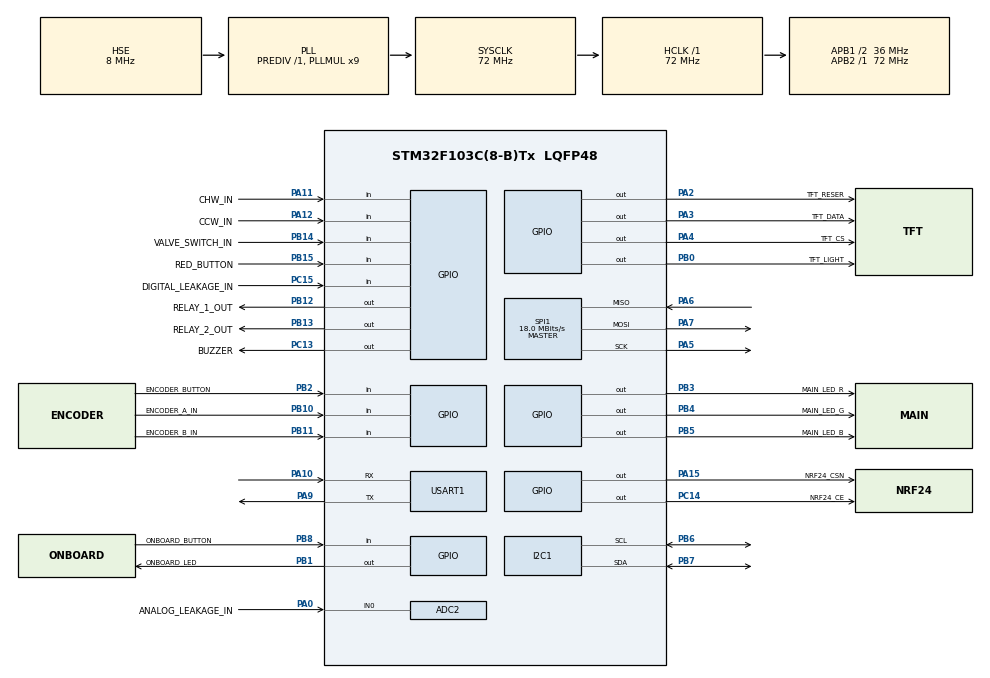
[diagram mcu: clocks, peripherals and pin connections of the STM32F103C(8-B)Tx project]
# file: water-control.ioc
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ADC2.Channel-0\#ChannelRegularConversion=ADC_CHANNEL_0
ADC2.Rank-0\#ChannelRegularConversion=1
ADC2.SamplingTime-0\#ChannelRegularConversion=ADC_SAMPLETIME_1CYCLE_5
Dma.Request0=SPI1_TX
Dma.SPI1_TX.0.Direction=DMA_MEMORY_TO_PERIPH
Dma.SPI1_TX.0.Instance=DMA1_Channel3
Dma.SPI1_TX.0.MemDataAlignment=DMA_MDATAALIGN_BYTE
Dma.SPI1_TX.0.MemInc=DMA_MINC_ENABLE
Dma.SPI1_TX.0.Mode=DMA_NORMAL
Dma.SPI1_TX.0.PeriphDataAlignment=DMA_PDATAALIGN_BYTE
Dma.SPI1_TX.0.PeriphInc=DMA_PINC_DISABLE
Dma.SPI1_TX.0.Priority=DMA_PRIORITY_LOW
FREERTOS.BinarySemaphores01=SPI1BinarySem
FREERTOS.Tasks01=LCDTask,0,128,StartLCDTask;UserManagement,0,128,StartUserManagementTask;I2CTimeTask,0,128,StartI2CTimeTask;NRFf24Task,0,256,StartNrf24Task
FREERTOS.configTOTAL_HEAP_SIZE=8192
Mcu.Family=STM32F1
Mcu.Name=STM32F103C(8-B)Tx
Mcu.Package=LQFP48
NVIC.DMA1_Channel3_IRQn=true\:5\:0\:false
NVIC.PriorityGroup=NVIC_PRIORITYGROUP_4
PA0-WKUP.GPIO_Label=ANALOG_LEAKAGE_IN
PA0-WKUP.Signal=ADCx_IN0
PA10.Mode=Asynchronous
PA10.Signal=USART1_RX
PA11.GPIO_Label=CHW_IN
PA11.GPIO_Mode=GPIO_MODE_INPUT
PA11.GPIO_PuPd=GPIO_PULLUP
PA11.Signal=GPIO_Input
PA12.GPIO_Label=CCW_IN
PA12.GPIO_Mode=GPIO_MODE_INPUT
PA12.GPIO_PuPd=GPIO_PULLUP
PA12.Signal=GPIO_Input
PA13.Mode=Serial_Wire
PA13.Signal=SYS_JTMS-SWDIO
PA14.Mode=Serial_Wire
PA14.Signal=SYS_JTCK-SWCLK
PA15.GPIO_Label=NRF24_CSN
PA15.Signal=GPIO_Output
PA2.GPIO_Label=TFT_RESER
PA2.GPIO_ModeDefaultOutputPP=GPIO_MODE_OUTPUT_PP
PA2.GPIO_Speed=GPIO_SPEED_HIGH
PA2.Signal=GPIO_Output
PA3.GPIO_Label=TFT_DATA
PA3.GPIO_ModeDefaultOutputPP=GPIO_MODE_OUTPUT_PP
PA3.GPIO_Speed=GPIO_SPEED_HIGH
PA3.Signal=GPIO_Output
PA4.GPIO_Label=TFT_CS
PA4.GPIO_ModeDefaultOutputPP=GPIO_MODE_OUTPUT_PP
PA4.GPIO_Speed=GPIO_SPEED_HIGH
PA4.Signal=GPIO_Output
PA5.GPIO_Mode=GPIO_MODE_AF_PP
PA5.GPIO_Speed=GPIO_SPEED_HIGH
PA5.Mode=Full_Duplex_Master
PA5.Signal=SPI1_SCK
PA6.Mode=Full_Duplex_Master
PA6.Signal=SPI1_MISO
PA7.GPIO_Mode=GPIO_MODE_AF_PP
PA7.GPIO_Speed=GPIO_SPEED_HIGH
PA7.Mode=Full_Duplex_Master
PA7.Signal=SPI1_MOSI
PA9.Mode=Asynchronous
PA9.Signal=USART1_TX
PB0.GPIO_Label=TFT_LIGHT
PB0.GPIO_ModeDefaultOutputPP=GPIO_MODE_OUTPUT_PP
PB0.GPIO_Speed=GPIO_SPEED_LOW
PB0.Signal=GPIO_Output
PB1.GPIO_Label=ONBOARD_LED
PB1.GPIO_ModeDefaultOutputPP=GPIO_MODE_OUTPUT_PP
PB1.GPIO_Speed=GPIO_SPEED_LOW
PB1.Signal=GPIO_Output
PB10.GPIO_Label=ENCODER_A_IN
PB10.GPIO_Mode=GPIO_MODE_INPUT
PB10.GPIO_PuPd=GPIO_PULLUP
PB10.Signal=GPIO_Input
PB11.GPIO_Label=ENCODER_B_IN
PB11.GPIO_Mode=GPIO_MODE_INPUT
PB11.GPIO_PuPd=GPIO_PULLUP
PB11.Signal=GPIO_Input
PB12.GPIO_Label=RELAY_1_OUT
PB12.GPIO_ModeDefaultOutputPP=GPIO_MODE_OUTPUT_PP
PB12.GPIO_Speed=GPIO_SPEED_LOW
PB12.Signal=GPIO_Output
PB13.GPIO_Label=RELAY_2_OUT
PB13.GPIO_ModeDefaultOutputPP=GPIO_MODE_OUTPUT_PP
PB13.GPIO_Speed=GPIO_SPEED_LOW
PB13.Signal=GPIO_Output
PB14.GPIO_Label=VALVE_SWITCH_IN
PB14.GPIO_Mode=GPIO_MODE_INPUT
PB14.GPIO_PuPd=GPIO_PULLUP
PB14.Signal=GPIO_Input
PB15.GPIO_Label=RED_BUTTON
PB15.GPIO_Mode=GPIO_MODE_INPUT
PB15.GPIO_PuPd=GPIO_PULLUP
PB15.Signal=GPIO_Input
PB2.GPIO_Label=ENCODER_BUTTON
PB2.GPIO_Mode=GPIO_MODE_INPUT
PB2.GPIO_PuPd=GPIO_PULLUP
PB2.Signal=GPIO_Input
PB3.GPIO_Label=MAIN_LED_R
PB3.GPIO_ModeDefaultOutputPP=GPIO_MODE_OUTPUT_PP
PB3.GPIO_Speed=GPIO_SPEED_LOW
PB3.Signal=GPIO_Output
PB4.GPIO_Label=MAIN_LED_G
PB4.GPIO_ModeDefaultOutputPP=GPIO_MODE_OUTPUT_PP
PB4.GPIO_Speed=GPIO_SPEED_LOW
PB4.Signal=GPIO_Output
PB5.GPIO_Label=MAIN_LED_B
PB5.GPIO_ModeDefaultOutputPP=GPIO_MODE_OUTPUT_PP
PB5.GPIO_Speed=GPIO_SPEED_LOW
PB5.Signal=GPIO_Output
PB6.Mode=I2C
PB6.Signal=I2C1_SCL
PB7.Mode=I2C
PB7.Signal=I2C1_SDA
PB8.GPIO_Label=ONBOARD_BUTTON
PB8.GPIO_Mode=GPIO_MODE_INPUT
PB8.GPIO_PuPd=GPIO_NOPULL
PB8.Signal=GPIO_Input
PC13-TAMPER-RTC.GPIO_Label=BUZZER
PC13-TAMPER-RTC.GPIO_ModeDefaultOutputPP=GPIO_MODE_OUTPUT_OD
PC13-TAMPER-RTC.GPIO_Speed=GPIO_SPEED_LOW
PC13-TAMPER-RTC.Signal=GPIO_Output
PC14-OSC32_IN.GPIO_Label=NRF24_CE
PC14-OSC32_IN.Signal=GPIO_Output
PC15-OSC32_OUT.GPIO_Label=DIGITAL_LEAKAGE_IN
PC15-OSC32_OUT.GPIO_Mode=GPIO_MODE_INPUT
PC15-OSC32_OUT.GPIO_PuPd=GPIO_NOPULL
PC15-OSC32_OUT.Signal=GPIO_Input
PD0-OSC_IN.Mode=HSE-External-Oscillator
PD0-OSC_IN.Signal=RCC_OSC_IN
PD1-OSC_OUT.Mode=HSE-External-Oscillator
PD1-OSC_OUT.Signal=RCC_OSC_OUT
ProjectManager.TargetToolchain=MDK-ARM V5
RCC.ADCPresc=RCC_ADCPCLK2_DIV6
RCC.AHBFreq_Value=72000000
RCC.APB1CLKDivider=RCC_HCLK_DIV2
RCC.APB1Freq_Value=36000000
RCC.APB1TimFreq_Value=72000000
RCC.APB2Freq_Value=72000000
RCC.APB2TimFreq_Value=72000000
RCC.HCLKFreq_Value=72000000
RCC.PLLMUL=RCC_PLL_MUL9
RCC.PLLSource=RCC_PLLSOURCE_HSE
RCC.PLLSourceVirtual=RCC_PLLSOURCE_HSE
RCC.PLLSourceVirtualString=RCC_PLLSOURCE_HSE
RCC.RTCClockSelection=RCC_RTCCLKSOURCE_HSE_DIV128
RCC.SYSCLKFreq_VALUE=72000000
RCC.SYSCLKSource=RCC_SYSCLKSOURCE_PLLCLK
RCC.USBFreq_Value=48000000
RCC.USBPrescaler=RCC_USBPLLCLK_DIV1_5
SH.ADCx_IN0.0=ADC2_IN0,IN0
SPI1.BaudRatePrescaler=SPI_BAUDRATEPRESCALER_4
SPI1.CalculateBaudRate=18.0 MBits/s
SPI1.Mode=SPI_MODE_MASTER
VP_FREERTOS_VS_ENABLE.Mode=Enabled

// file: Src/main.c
/**
  ******************************************************************************
  * File Name          : main.c
  * Date               : 23/02/2016 16:14:26
  * Description        : Main program body
  ******************************************************************************
  *
  * COPYRIGHT(c) 2016 STMicroelectronics
  *
  * Redistribution and use in source and binary forms, with or without modification,
  * are permitted provided that the following conditions are met:
  *   1. Redistributions of source code must retain the above copyright notice,
  *      this list of conditions and the following disclaimer.
  *   2. Redistributions in binary form must reproduce the above copyright notice,
  *      this list of conditions and the following disclaimer in the documentation
  *      and/or other materials provided with the distribution.
  *   3. Neither the name of STMicroelectronics nor the names of its contributors
  *      may be used to endorse or promote products derived from this software
  *      without specific prior written permission.
  *
  * THIS SOFTWARE IS PROVIDED BY THE COPYRIGHT HOLDERS AND CONTRIBUTORS "AS IS"
  * AND ANY EXPRESS OR IMPLIED WARRANTIES, INCLUDING, BUT NOT LIMITED TO, THE
  * IMPLIED WARRANTIES OF MERCHANTABILITY AND FITNESS FOR A PARTICULAR PURPOSE ARE
  * DISCLAIMED. IN NO EVENT SHALL THE COPYRIGHT HOLDER OR CONTRIBUTORS BE LIABLE
  * FOR ANY DIRECT, INDIRECT, INCIDENTAL, SPECIAL, EXEMPLARY, OR CONSEQUENTIAL
  * DAMAGES (INCLUDING, BUT NOT LIMITED TO, PROCUREMENT OF SUBSTITUTE GOODS OR
  * SERVICES; LOSS OF USE, DATA, OR PROFITS; OR BUSINESS INTERRUPTION) HOWEVER
  * CAUSED AND ON ANY THEORY OF LIABILITY, WHETHER IN CONTRACT, STRICT LIABILITY,
  * OR TORT (INCLUDING NEGLIGENCE OR OTHERWISE) ARISING IN ANY WAY OUT OF THE USE
  * OF THIS SOFTWARE, EVEN IF ADVISED OF THE POSSIBILITY OF SUCH DAMAGE.
  *
  ******************************************************************************
  */

#include "stm32f1xx_hal.h"
#include "cmsis_os.h"

/* USER CODE BEGIN Includes */
#include "LCD.h"
#include "bf.h"
#include "menu.h"
#include <stdio.h>
#include <stdlib.h>
#include "AT24C.h"
#include "nrf24.h"
#include "aes.h"
#include "encrypted_block.h"
#include "nrf24_address_cfg.h"
/* USER CODE END Includes */

ADC_HandleTypeDef hadc2;

I2C_HandleTypeDef hi2c1;

SPI_HandleTypeDef hspi1;
DMA_HandleTypeDef hdma_spi1_tx;

UART_HandleTypeDef huart1;

osThreadId LCDTaskHandle;
osThreadId UserManagementHandle;
osThreadId I2CTimeTaskHandle;
osThreadId NRFf24TaskHandle;
osSemaphoreId SPI1BinarySemHandle;

void SystemClock_Config(void);
static void MX_GPIO_Init(void);
static void MX_DMA_Init(void);
static void MX_ADC2_Init(void);
static void MX_I2C1_Init(void);
static void MX_SPI1_Init(void);
static void MX_USART1_UART_Init(void);
void StartLCDTask(void const * argument);
void StartUserManagementTask(void const * argument);
void StartI2CTimeTask(void const * argument);
void StartNrf24Task(void const * argument);

/* USER CODE BEGIN 0 */
uint8_t nrf_data_buff[32];

aes128_ctx_t AES_ctx;

Encoder encoder1;

BF_Instance count_cw;
BF_Instance count_hw;

uint8_t time_data_buff[19];
uint8_t time_data_buff_need_save=0;

bool counter_settings_data_buff_inizialized=false;
uint8_t counter_settings_data_buff[64];
bool settings_page1_data_buff_need_save=false;
bool settings_page2_data_buff_need_save=false;

bool userAlreadyNotified=false;

uint32_t sensor_resistance_value=0;

bool needRefreshStateOnOpenHub=false;

uint32_t beep_stop_timer;
bool beep_on=false;

uint8_t HexToDec(uint8_t hex)
{
	return (hex&0xf) + (hex>>4&0xf)*10;
}

uint8_t DecToHex(uint8_t dec)
{
	int val=((dec/10)<<4) | (dec%10);
	return val;
}

//начало память от батарейки
typedef enum
{
	ACCIDENT_MODE=0,
	REGULAR_MODE
} AccidentStatus;

typedef struct
{
	uint8_t Sec;
	uint8_t Min;
	uint8_t Hour;
}Time;

typedef struct
{
	uint8_t Day;
	uint8_t Mont;
	uint8_t Year;
}Date;

typedef struct
{
	Time Time;
	uint8_t WeekDay;
	Date Date;
} DateTime;

uint32_t radio_sensor_resistance_value=0xffff;
//DateTime radio_sensor_dateTime;

typedef enum ValveStatus
{
	VALVE_STATUS_CLOSED=0,
	VALVE_STATUS_OPENED
} ValveStatus;

typedef struct
{
	uint32_t ccw; //0-3
	uint32_t chw; //4-7
	AccidentStatus accident_status; //8
	uint16_t accident_level_value; //9,10
	DateTime valveCloseDate; //11,12,13, 14-день недели, 15,16,17
	DateTime valveOpenDate; //18 - 24
	ValveStatus valveStatus; //25
	uint16_t radio_onair_interval; //26,27
	uint32_t key; //page 2
	DateTime radio_sensor_dateTime; //32 - 38
	uint32_t valveOperationsCounter;
} SettingsAndStatus;

SettingsAndStatus * getSettingsStruct()
{
		return (SettingsAndStatus*)counter_settings_data_buff;
}

enum Event
{
	Event_Nop=0,
	Event_FullDate,
	Event_DiffDate,
	Event_Start,
	Event_ValveOpen,
	Event_ValveClose,
	Event_AccidentButtonPush,
	Event_MainSwitchOn,
	Event_MainSwitchOff,
	Event_AccidentSensorActivated,
	Event_AccidentSensorDisactivated,
};

void saveCCW(uint32_t data)
{
	getSettingsStruct()->ccw=data;
	settings_page1_data_buff_need_save=true;
}

void saveCHW(uint32_t data)
{
	getSettingsStruct()->chw=data;
	settings_page1_data_buff_need_save=true;
}

uint32_t loadValveOperationsCounter()
{
	return getSettingsStruct()->valveOperationsCounter;
}

void saveValveOperationsCounter(uint32_t count){
	getSettingsStruct()->valveOperationsCounter=count;
	settings_page2_data_buff_need_save=true;
}

uint32_t loadCCW()
{
	return getSettingsStruct()->ccw;
}

uint32_t loadCHW()
{
	return getSettingsStruct()->chw;
}

DateTime * getCurrentDateTime()
{
	return (DateTime *)time_data_buff;
}

void saveAccidentStatus(AccidentStatus mode)
{
	if(getSettingsStruct()->accident_status==mode)return;

	getSettingsStruct()->accident_status=mode;
	settings_page1_data_buff_need_save=true;

	needRefreshStateOnOpenHub=true;

}

AccidentStatus loadAccidentStatus()
{
	return getSettingsStruct()->accident_status;
}

Widget * getValveOperationsCounter(){
	Widget * tempWidget=menu_getWidget();
	sprintf(tempWidget->menuViewTempBuff, "%u", getSettingsStruct()->valveOperationsCounter);
	return tempWidget;
}

void printDataTime(char * buff, DateTime * dateTime)
{
	sprintf(buff, "%02d/%02d/%02d %02d:%02d:%02d", HexToDec(dateTime->Date.Day), HexToDec(dateTime->Date.Mont), HexToDec(dateTime->Date.Year), HexToDec(dateTime->Time.Hour), HexToDec(dateTime->Time.Min), HexToDec(dateTime->Time.Sec));
}

Widget * getWidgetAccidentLevel()
{
	Widget * tempWidget=menu_getWidget();
	sprintf(tempWidget->menuViewTempBuff, "%d", getSettingsStruct()->accident_level_value);
	return tempWidget;
}

Widget * getWidgetSensorResistance()
{
	Widget * tempWidget=menu_getWidget();
	sprintf(tempWidget->menuViewTempBuff, "%d", sensor_resistance_value);
	return tempWidget;
}

Widget * getWidgetRadioSensorResistance()
{
	Widget * tempWidget=menu_getWidget();
	if(radio_sensor_resistance_value==0xffff)
	{
		sprintf(tempWidget->menuViewTempBuff, "no data");
	}
	else
	{
		sprintf(tempWidget->menuViewTempBuff, "%d", radio_sensor_resistance_value);
	}
	return tempWidget;
}

Widget * getWidgetRadioOnAirInterval()
{
	Widget * tempWidget=menu_getWidget();
	sprintf(tempWidget->menuViewTempBuff, "%d", getSettingsStruct()->radio_onair_interval);
	return tempWidget;
}

Widget * getWidgetRadioProbeOnAirDateTime()
{
	Widget * tempWidget=menu_getWidget();
	printDataTime(tempWidget->menuViewTempBuff, &getSettingsStruct()->radio_sensor_dateTime);
	return tempWidget;
}

Widget * getWidgetCurrentDateTime()
{
	Widget * tempWidget=menu_getWidget();
	printDataTime(tempWidget->menuViewTempBuff, getCurrentDateTime());
	tempWidget->backgroundColor=LCD_RGB(0.5, 0.5, 0.5);
	tempWidget->foregroundColor=LCD_WHITE;
	return tempWidget;
}

Widget * getWidgetCounters()
{
	Widget * tempWidget=menu_getWidget();
	sprintf(tempWidget->menuViewTempBuff, "ХВС: %u ГВС: %u", count_cw.counter/1000, count_hw.counter/1000);
	tempWidget->backgroundColor=LCD_RGB(0.6, 0.6, 0.6);
	tempWidget->foregroundColor=LCD_WHITE;
	return tempWidget;
}

Widget * getWidgetValveLastOpen()
{
	Widget * tempWidget=menu_getWidget();
	DateTime * dateTime=&getSettingsStruct()->valveOpenDate;
	printDataTime(tempWidget->menuViewTempBuff, dateTime);
	return tempWidget;
}

Widget * getWidgetValveLastClose()
{
	Widget * tempWidget=menu_getWidget();
	DateTime * dateTime=&getSettingsStruct()->valveCloseDate;
	printDataTime(tempWidget->menuViewTempBuff, dateTime);
	return tempWidget;
}

Widget * getWidgetWorkMode()
{
	Widget * tempWidget=menu_getWidget();

	if(getSettingsStruct()->accident_status==ACCIDENT_MODE)
	{
		sprintf(tempWidget->menuViewTempBuff, "%s", "АВАРИЯ!!!");
		if(HAL_GetTick()&1024)
		{
			tempWidget->backgroundColor=LCD_RED;
			tempWidget->foregroundColor=LCD_WHITE;
		}
	}
	else
	{
		sprintf(tempWidget->menuViewTempBuff, "%s", "Штатный");
	}
	return tempWidget;
}

Size OnDrawWidgetNRFData(uint16_t x, uint16_t y, bool selected)
{
	Size size;
	size.width=320;
	size.height=200;
	nrf_data_buff[31]=0;
	LCD_DrawString(0,30, (char*)nrf_data_buff, false);

//	uint16_t pos=(HAL_GetTick()/10)&255;
////
//	LCD_setBackgroundColor(LCD_GREEN);
//	LCD_FillRect(x,y,pos,size.height);
//	LCD_setBackgroundColor(LCD_RED);
//	LCD_FillRect(pos,y,10,size.height);
//	LCD_setBackgroundColor(LCD_BLUE);
//	LCD_FillRect(pos+10,y,320-pos-10,size.height);

	return size;
}

Widget * getWidgetNRFData()
{
	Widget * tempWidget=menu_getWidget();
	tempWidget->onDrawFunc=OnDrawWidgetNRFData;

	//sprintf(tempWidget->menuViewTempBuff, "%d", sensor_resistance_value);
	return tempWidget;
}

Size OnDrawWidgetValveStatus(uint16_t x, uint16_t y, bool selected)
{
	Size size;
	size.width=320;
	size.height=50;

	uint16_t pos=(HAL_GetTick()/10)&255;

	LCD_setBackgroundColor(LCD_GREEN);
	LCD_FillRect(x,y,pos,size.height);
	LCD_setBackgroundColor(LCD_RED);
	LCD_FillRect(pos,y,10,size.height);
	LCD_setBackgroundColor(LCD_BLUE);
	LCD_FillRect(pos+10,y,320-pos-10,size.height);

	return size;
}

Widget * getWidgetValveStatus()
{
	Widget * tempWidget=menu_getWidget();
	//tempWidget->onDrawFunc=OnDrawWidgetValveStatus;

	if(getSettingsStruct()->valveStatus==VALVE_STATUS_CLOSED)
	{
		sprintf(tempWidget->menuViewTempBuff, "%s", "Закрыты");
	}
	else
	{
		sprintf(tempWidget->menuViewTempBuff, "%s", "Открыты");
	}
	return tempWidget;
}

void setADCAccidentValue(uint16_t value)
{
	getSettingsStruct()->accident_level_value=value;
	settings_page1_data_buff_need_save=true;
}

void setRadioOnAirIntervalValue(uint16_t value)
{
	getSettingsStruct()->radio_onair_interval=value;
	settings_page1_data_buff_need_save=true;
}

//начало работа с реле
void Relay1On()
{
	HAL_GPIO_WritePin(GPIOB, GPIO_PIN_12, GPIO_PIN_SET);
}
void Relay1Off()
{
	HAL_GPIO_WritePin(GPIOB, GPIO_PIN_12, GPIO_PIN_RESET);
}

void Relay2On()
{
	HAL_GPIO_WritePin(GPIOB, GPIO_PIN_13, GPIO_PIN_SET);
}
void Relay2Off()
{
	HAL_GPIO_WritePin(GPIOB, GPIO_PIN_13, GPIO_PIN_RESET);
}
//конец работа с реле

//начало настройка счетчиков воды

void ccw_disp(void * param)
{
	count_cw.counter+=(*(int16_t*)param);
}

void chw_disp(void * param)
{
	count_hw.counter+=(*(int16_t*)param);
}
//конец настройка счетчиков воды

void WaterRelePowerOff()
{
	Relay1Off();
	Relay2Off();
}

uint32_t water_rele_power_timer_off;
uint8_t water_rele_power_off_enabled=0;
void water_startRelePowerOffTimer()
{
	water_rele_power_timer_off=HAL_GetTick()+6000; //6 секунды
	water_rele_power_off_enabled=1;
}

void valve_relay_tick()
{
	if(!water_rele_power_off_enabled)return;
	if(HAL_GetTick()>=water_rele_power_timer_off)
	{
		WaterRelePowerOff();
		water_rele_power_off_enabled=0;
	}
}

void * memcpy(void * dest, const void * src, unsigned int len)
{
	for(int i=0;i<len;i++)
	{
		((char*)dest)[i]=((char*)src)[i];
	}
	return dest;
}

void saveValveStatus(ValveStatus status)
{
	if(getSettingsStruct()->valveStatus==status)
	{
		return;
	}
	void * ptr;
	switch(status)
	{
		case VALVE_STATUS_CLOSED:
		ptr=&getSettingsStruct()->valveCloseDate;
		break;
		case VALVE_STATUS_OPENED:
		ptr=&getSettingsStruct()->valveOpenDate;
		break;
	}
	memcpy(ptr, getCurrentDateTime(), sizeof(DateTime));
	getSettingsStruct()->valveStatus=status;
	settings_page1_data_buff_need_save=true;

	needRefreshStateOnOpenHub=true;
}

void resetValveCounter(void * param){
	saveValveOperationsCounter(0);
}

//Открытие кранов
void ValveOn(void * param)
{
	if(loadAccidentStatus()==ACCIDENT_MODE)
	{
		return;//последнее состояние - авания, не даем открыть краны
	}
	if(HAL_GPIO_ReadPin(GPIOB, GPIO_PIN_14)==GPIO_PIN_SET)
	{
		return;//главный выключатель в положении "закрыт"
	}

	Relay1On();
	Relay2Off();
	water_startRelePowerOffTimer();

	saveValveStatus(VALVE_STATUS_OPENED);
}

//Закрытие кранов
void ValveOff(void * param)
{
	Relay1Off();
	Relay2On();
	water_startRelePowerOffTimer();

	saveValveStatus(VALVE_STATUS_CLOSED);

	saveValveOperationsCounter(loadValveOperationsCounter()+1);
}

//сброс признака протечки
void resetWaterAlert(void * param)
{
	radio_sensor_resistance_value=0xffff;
	userAlreadyNotified=false;
	saveAccidentStatus(REGULAR_MODE);
	ValveOn(0);
}

//установка значений RTC
void time_h_plus(void * param)
{
	DateTime * dateTime=(DateTime*)time_data_buff;
	uint8_t h=HexToDec(dateTime->Time.Hour);
	h++;
	if(h==25)
	{
		h=0;
	}
	dateTime->Time.Hour=DecToHex(h);
	time_data_buff_need_save=1;
}

void time_m_plus(void * param)
{
	DateTime * dateTime=(DateTime*)time_data_buff;
	uint8_t m=HexToDec(dateTime->Time.Min);
	m++;
	if(m==60)
	{
		m=0;
	}
	dateTime->Time.Min=DecToHex(m);
	time_data_buff_need_save=1;
}

void time_sec_to_zero(void * param)
{
	DateTime * dateTime=(DateTime*)time_data_buff;
	uint8_t s=HexToDec(dateTime->Time.Sec);
	if(s>30)
	{
		time_m_plus(0);
	}
	dateTime->Time.Sec=0;
	time_data_buff_need_save=1;

}

void time_day_plus(void * param)
{
	DateTime * dateTime=(DateTime*)time_data_buff;
	uint8_t value=HexToDec(dateTime->Date.Day);
	value++;
	if(value==32)
	{
		value=1;
	}
	dateTime->Date.Day=DecToHex(value);
	time_data_buff_need_save=1;
}

void time_month_plus(void * param)
{
	DateTime * dateTime=(DateTime*)time_data_buff;
	uint8_t value=HexToDec(dateTime->Date.Mont);
	value++;
	if(value==13)
	{
		value=1;
	}
	dateTime->Date.Mont=DecToHex(value);
	time_data_buff_need_save=1;
}

void time_year_plus(void * param)
{
	DateTime * dateTime=(DateTime*)time_data_buff;
	uint8_t value=HexToDec(dateTime->Date.Year);
	value++;
	if(value==100)
	{
		value=0;
	}
	dateTime->Date.Year=DecToHex(value);
	time_data_buff_need_save=1;
}

uint32_t getKey(){
	return getSettingsStruct()->key;
}

void setKey(uint32_t key){
	getSettingsStruct()->key=key;
	settings_page2_data_buff_need_save=true;
}

//настройка уровня срабатывания датчика протечки
void accident_level_tune(void * param)
{
	setADCAccidentValue(getSettingsStruct()->accident_level_value + (*(int8_t*)param));
}

//настройка интервала выхода в эфир радиодатчика протечки
void radio_probe_onair_interval_tune(void * param)
{
	setRadioOnAirIntervalValue(getSettingsStruct()->radio_onair_interval + (*(int8_t*)param));
}

Widget * getWidgetCCW()
{
	Widget * tempWidget=menu_getWidget();
	sprintf(tempWidget->menuViewTempBuff, "%d", count_cw.counter);
	return tempWidget;
}

Widget * getWidgetCHW()
{
	Widget * tempWidget=menu_getWidget();
	sprintf(tempWidget->menuViewTempBuff, "%d", count_hw.counter);
	return tempWidget;
}

Widget * getWidgetRadioKey()
{
	Widget * tempWidget=menu_getWidget();
	sprintf(tempWidget->menuViewTempBuff, "%u", getKey());
	return tempWidget;
}

void resetKey(void * val)
{
	setKey(0);
}

const int16_t one=1;
const int16_t minus_one=-1;
const int16_t thousand=1000;
const int16_t minus_thousand=-1000;

Menu mainMenu;

MenuItem manual_water_control_menu_items[]={ {"Главное меню",menu_goToMenu,(void*)&mainMenu},
																						{"Открыть краны",ValveOn,0,0,X_PLUS_20},
																						{"Закрыть",ValveOff},
																						{"Закрыты: %s", 0, 0, getWidgetValveLastClose},
																						{"Открыты: %s", 0, 0, getWidgetValveLastOpen},
																						{"Краны: %s", 0, 0, getWidgetValveStatus},
																						{"Количество откр.: %s", resetValveCounter, 0, getValveOperationsCounter},
																					};
Menu manualWaterControlMenu={(MenuItem*)manual_water_control_menu_items, 7};

MenuItem time_setup_menu_items[]={
																	{"%s", 0, 0, getWidgetCurrentDateTime},
																	{"Главное меню",menu_goToMenu,(void*)&mainMenu},
																	{"День",time_day_plus,0,0,X_PLUS_20},
																	{"Месяц",time_month_plus,0,0,X_PLUS_20},
																	{"Год",time_year_plus,0,0,NEW_LINE},
																	{"Часы",time_h_plus,0,0,X_PLUS_20},
																	{"Минуты",time_m_plus,0,0,X_PLUS_20},
																	{"Секунды",time_sec_to_zero,0,0,X_PLUS_20},
																	};
Menu timeSetupMenu={(MenuItem*)time_setup_menu_items, 8};

MenuItem counters_setup_menu_items[]={ {"Главное меню",menu_goToMenu,(void*)&mainMenu},
																						{"ХВС: %s",0,0,getWidgetCCW},
																						{"+1000",ccw_disp,(void*)&thousand,0,X_PLUS_20},
																						{"-1000",ccw_disp,(void*)&minus_thousand,0,X_PLUS_20},
																						{"+1",ccw_disp,(void*)&one,0,X_PLUS_20},
																						{"-1",ccw_disp,(void*)&minus_one},

																						{"ГВС: %s",0,0,getWidgetCHW},
																						{"+1000",chw_disp,(void*)&thousand,0,X_PLUS_20},
																						{"-1000",chw_disp,(void*)&minus_thousand,0,X_PLUS_20},
																						{"+1",chw_disp,(void*)&one,0,X_PLUS_20},
																						{"-1",chw_disp,(void*)&minus_one}
																					};

Menu countersSetupMenu={(MenuItem*)counters_setup_menu_items, 11};

MenuItem accident_settings_menu_items[]={ 	{"%s", 0, 0, getWidgetCurrentDateTime},
																						{"Главное меню",menu_goToMenu,(void*)&mainMenu},
																						{"Текущее: ",0, 0, 0, X_PLUS_0},
																						{"%s", 0, 0, getWidgetSensorResistance,X_PLUS_0},
																						{" / %s", 0, 0, getWidgetRadioSensorResistance},

																						{"Граница: ", 0, 0, 0, X_PLUS_0},
																						{"%s", 0, 0, getWidgetAccidentLevel, X_160},
																						{"[+]",accident_level_tune,(void*)&one,0, X_PLUS_20},
																						{"[-]",accident_level_tune,(void*)&minus_one},

																						{"Ключ/сброс: %s",resetKey, 0, getWidgetRadioKey},

																						//{"Радиоэфир: ", 0, 0, 0, X_PLUS_0},
																						//{"%s", 0, 0, getWidgetRadioOnAirInterval, X_PLUS_20},
																						//{"[+]",radio_probe_onair_interval_tune,(void*)&one,0, X_PLUS_20},
																						//{"[-]",radio_probe_onair_interval_tune,(void*)&minus_one},
																						{"Последний рапорт:"},
																						{"%s", 0, 0, getWidgetRadioProbeOnAirDateTime},

																					};
Menu accidentSettingsMenu={(MenuItem*)accident_settings_menu_items, 12};

MenuItem other_menu_items[]={ {"Главное меню",menu_goToMenu,(void*)&mainMenu},
																						{"%s", 0, 0, getWidgetNRFData},
																					};
Menu otherMenu={(MenuItem*)other_menu_items, 2};

MenuItem main_menu_itens[]={	{"%s", 0, 0, getWidgetCurrentDateTime},
															{"%s", 0, 0, getWidgetCounters},
															{"Текущий режим: %s", 0, 0, getWidgetWorkMode},
															{"Настройка тек.показаний...",menu_goToMenu,(void*)&countersSetupMenu},
															{"Настройка часов...",menu_goToMenu,(void*)&timeSetupMenu},
															{"Сброс признака протечки",resetWaterAlert},
															{"Состояние кранов...",menu_goToMenu,(void*)&manualWaterControlMenu},
															{"Датчики...",menu_goToMenu,(void*)&accidentSettingsMenu},
															//{"Прочее...",menu_goToMenu,(void*)&otherMenu},
															};
Menu mainMenu={(MenuItem*)main_menu_itens, 8};

/* USER CODE END 0 */

int main(void)
{

  /* MCU Configuration----------------------------------------------------------*/

  /* Reset of all peripherals, Initializes the Flash interface and the Systick. */
  HAL_Init();

  /* Configure the system clock */
  SystemClock_Config();

  /* Initialize all configured peripherals */
  MX_GPIO_Init();
  MX_DMA_Init();
  MX_ADC2_Init();
  MX_I2C1_Init();
  MX_SPI1_Init();
  MX_USART1_UART_Init();

  /* USER CODE BEGIN 2 */
	HAL_GPIO_WritePin(GPIOC, GPIO_PIN_13, GPIO_PIN_SET); //buzzer off

	nrf24_init(&hspi1);

	menu_Init(&mainMenu);

  /* USER CODE END 2 */

  /* Create the semaphores(s) */
  /* definition and creation of SPI1BinarySem */
  osSemaphoreDef(SPI1BinarySem);
  SPI1BinarySemHandle = osSemaphoreCreate(osSemaphore(SPI1BinarySem), 1);

  /* Create the thread(s) */
  /* definition and creation of LCDTask */
  osThreadDef(LCDTask, StartLCDTask, osPriorityNormal, 0, 128);
  LCDTaskHandle = osThreadCreate(osThread(LCDTask), NULL);

  /* definition and creation of UserManagement */
  osThreadDef(UserManagement, StartUserManagementTask, osPriorityNormal, 0, 128);
  UserManagementHandle = osThreadCreate(osThread(UserManagement), NULL);

  /* definition and creation of I2CTimeTask */
  osThreadDef(I2CTimeTask, StartI2CTimeTask, osPriorityNormal, 0, 128);
  I2CTimeTaskHandle = osThreadCreate(osThread(I2CTimeTask), NULL);

  /* definition and creation of NRFf24Task */
  osThreadDef(NRFf24Task, StartNrf24Task, osPriorityNormal, 0, 256);
  NRFf24TaskHandle = osThreadCreate(osThread(NRFf24Task), NULL);

  /* Start scheduler */
  osKernelStart();

  /* We should never get here as control is now taken by the scheduler */

  /* Infinite loop */
	while (1)
	{

	}

}

/** System Clock Configuration
*/
void SystemClock_Config(void)
{

  RCC_OscInitTypeDef RCC_OscInitStruct;
  RCC_ClkInitTypeDef RCC_ClkInitStruct;
  RCC_PeriphCLKInitTypeDef PeriphClkInit;

  RCC_OscInitStruct.OscillatorType = RCC_OSCILLATORTYPE_HSE;
  RCC_OscInitStruct.HSEState = RCC_HSE_ON;
  RCC_OscInitStruct.HSEPredivValue = RCC_HSE_PREDIV_DIV1;
  RCC_OscInitStruct.PLL.PLLState = RCC_PLL_ON;
  RCC_OscInitStruct.PLL.PLLSource = RCC_PLLSOURCE_HSE;
  RCC_OscInitStruct.PLL.PLLMUL = RCC_PLL_MUL9;
  HAL_RCC_OscConfig(&RCC_OscInitStruct);

  RCC_ClkInitStruct.ClockType = RCC_CLOCKTYPE_SYSCLK|RCC_CLOCKTYPE_PCLK1;
  RCC_ClkInitStruct.SYSCLKSource = RCC_SYSCLKSOURCE_PLLCLK;
  RCC_ClkInitStruct.AHBCLKDivider = RCC_SYSCLK_DIV1;
  RCC_ClkInitStruct.APB1CLKDivider = RCC_HCLK_DIV2;
  RCC_ClkInitStruct.APB2CLKDivider = RCC_HCLK_DIV1;
  HAL_RCC_ClockConfig(&RCC_ClkInitStruct, FLASH_LATENCY_2);

  PeriphClkInit.PeriphClockSelection = RCC_PERIPHCLK_ADC;
  PeriphClkInit.AdcClockSelection = RCC_ADCPCLK2_DIV6;
  HAL_RCCEx_PeriphCLKConfig(&PeriphClkInit);

}

/* ADC2 init function */
void MX_ADC2_Init(void)
{

  ADC_ChannelConfTypeDef sConfig;

    /**Common config
    */
  hadc2.Instance = ADC2;
  hadc2.Init.ScanConvMode = ADC_SCAN_DISABLE;
  hadc2.Init.ContinuousConvMode = DISABLE;
  hadc2.Init.DiscontinuousConvMode = DISABLE;
  hadc2.Init.ExternalTrigConv = ADC_SOFTWARE_START;
  hadc2.Init.DataAlign = ADC_DATAALIGN_RIGHT;
  hadc2.Init.NbrOfConversion = 1;
  HAL_ADC_Init(&hadc2);

    /**Configure Regular Channel
    */
  sConfig.Channel = ADC_CHANNEL_0;
  sConfig.Rank = 1;
  sConfig.SamplingTime = ADC_SAMPLETIME_1CYCLE_5;
  HAL_ADC_ConfigChannel(&hadc2, &sConfig);

}

/* I2C1 init function */
void MX_I2C1_Init(void)
{

  hi2c1.Instance = I2C1;
  hi2c1.Init.ClockSpeed = 100000;
  hi2c1.Init.DutyCycle = I2C_DUTYCYCLE_2;
  hi2c1.Init.OwnAddress1 = 0;
  hi2c1.Init.AddressingMode = I2C_ADDRESSINGMODE_7BIT;
  hi2c1.Init.DualAddressMode = I2C_DUALADDRESS_DISABLED;
  hi2c1.Init.OwnAddress2 = 0;
  hi2c1.Init.GeneralCallMode = I2C_GENERALCALL_DISABLED;
  hi2c1.Init.NoStretchMode = I2C_NOSTRETCH_DISABLED;
  HAL_I2C_Init(&hi2c1);

}

/* SPI1 init function */
void MX_SPI1_Init(void)
{

  hspi1.Instance = SPI1;
  hspi1.Init.Mode = SPI_MODE_MASTER;
  hspi1.Init.Direction = SPI_DIRECTION_2LINES;
  hspi1.Init.DataSize = SPI_DATASIZE_8BIT;
  hspi1.Init.CLKPolarity = SPI_POLARITY_LOW;
  hspi1.Init.CLKPhase = SPI_PHASE_1EDGE;
  hspi1.Init.NSS = SPI_NSS_SOFT;
  hspi1.Init.BaudRatePrescaler = SPI_BAUDRATEPRESCALER_4;
  hspi1.Init.FirstBit = SPI_FIRSTBIT_MSB;
  hspi1.Init.TIMode = SPI_TIMODE_DISABLED;
  hspi1.Init.CRCCalculation = SPI_CRCCALCULATION_DISABLED;
  HAL_SPI_Init(&hspi1);

}

/* USART1 init function */
void MX_USART1_UART_Init(void)
{

  huart1.Instance = USART1;
  huart1.Init.BaudRate = 115200;
  huart1.Init.WordLength = UART_WORDLENGTH_8B;
  huart1.Init.StopBits = UART_STOPBITS_1;
  huart1.Init.Parity = UART_PARITY_NONE;
  huart1.Init.Mode = UART_MODE_TX_RX;
  huart1.Init.HwFlowCtl = UART_HWCONTROL_NONE;
  huart1.Init.OverSampling = UART_OVERSAMPLING_16;
  HAL_UART_Init(&huart1);

}

void MX_DMA_Init(void)
{
  /* DMA controller clock enable */
  __HAL_RCC_DMA1_CLK_ENABLE();

  /* DMA interrupt init */
  HAL_NVIC_SetPriority(DMA1_Channel3_IRQn, 5, 0);
  HAL_NVIC_EnableIRQ(DMA1_Channel3_IRQn);

}

/** Configure pins as
        * Analog
        * Input
        * Output
        * EVENT_OUT
        * EXTI
        * Free pins are configured automatically as Analog (this feature is enabled through
        * the Code Generation settings)
*/
void MX_GPIO_Init(void)
{

  GPIO_InitTypeDef GPIO_InitStruct;

  /* GPIO Ports Clock Enable */
  __GPIOC_CLK_ENABLE();
  __GPIOD_CLK_ENABLE();
  __GPIOA_CLK_ENABLE();
  __GPIOB_CLK_ENABLE();

  /*Configure GPIO pin : PC13 */
  GPIO_InitStruct.Pin = GPIO_PIN_13;
  GPIO_InitStruct.Mode = GPIO_MODE_OUTPUT_OD;
  GPIO_InitStruct.Speed = GPIO_SPEED_LOW;
  HAL_GPIO_Init(GPIOC, &GPIO_InitStruct);

  /*Configure GPIO pin : PC14 */
  GPIO_InitStruct.Pin = GPIO_PIN_14;
  GPIO_InitStruct.Mode = GPIO_MODE_OUTPUT_PP;
  GPIO_InitStruct.Speed = GPIO_SPEED_LOW;
  HAL_GPIO_Init(GPIOC, &GPIO_InitStruct);

  /*Configure GPIO pin : PC15 */
  GPIO_InitStruct.Pin = GPIO_PIN_15;
  GPIO_InitStruct.Mode = GPIO_MODE_INPUT;
  GPIO_InitStruct.Pull = GPIO_NOPULL;
  HAL_GPIO_Init(GPIOC, &GPIO_InitStruct);

  /*Configure GPIO pins : PA1 PA8 */
  GPIO_InitStruct.Pin = GPIO_PIN_1|GPIO_PIN_8;
  GPIO_InitStruct.Mode = GPIO_MODE_ANALOG;
  HAL_GPIO_Init(GPIOA, &GPIO_InitStruct);

  /*Configure GPIO pins : PA2 PA3 PA4 */
  GPIO_InitStruct.Pin = GPIO_PIN_2|GPIO_PIN_3|GPIO_PIN_4;
  GPIO_InitStruct.Mode = GPIO_MODE_OUTPUT_PP;
  GPIO_InitStruct.Speed = GPIO_SPEED_HIGH;
  HAL_GPIO_Init(GPIOA, &GPIO_InitStruct);

  /*Configure GPIO pins : PB0 PB1 PB12 PB13
                           PB3 PB4 PB5 */
  GPIO_InitStruct.Pin = GPIO_PIN_0|GPIO_PIN_1|GPIO_PIN_12|GPIO_PIN_13
                          |GPIO_PIN_3|GPIO_PIN_4|GPIO_PIN_5;
  GPIO_InitStruct.Mode = GPIO_MODE_OUTPUT_PP;
  GPIO_InitStruct.Speed = GPIO_SPEED_LOW;
  HAL_GPIO_Init(GPIOB, &GPIO_InitStruct);

  /*Configure GPIO pins : PB2 PB10 PB11 PB14
                           PB15 */
  GPIO_InitStruct.Pin = GPIO_PIN_2|GPIO_PIN_10|GPIO_PIN_11|GPIO_PIN_14
                          |GPIO_PIN_15;
  GPIO_InitStruct.Mode = GPIO_MODE_INPUT;
  GPIO_InitStruct.Pull = GPIO_PULLUP;
  HAL_GPIO_Init(GPIOB, &GPIO_InitStruct);

  /*Configure GPIO pins : PA11 PA12 */
  GPIO_InitStruct.Pin = GPIO_PIN_11|GPIO_PIN_12;
  GPIO_InitStruct.Mode = GPIO_MODE_INPUT;
  GPIO_InitStruct.Pull = GPIO_PULLUP;
  HAL_GPIO_Init(GPIOA, &GPIO_InitStruct);

  /*Configure GPIO pin : PA15 */
  GPIO_InitStruct.Pin = GPIO_PIN_15;
  GPIO_InitStruct.Mode = GPIO_MODE_OUTPUT_PP;
  GPIO_InitStruct.Speed = GPIO_SPEED_LOW;
  HAL_GPIO_Init(GPIOA, &GPIO_InitStruct);

  /*Configure GPIO pin : PB8 */
  GPIO_InitStruct.Pin = GPIO_PIN_8;
  GPIO_InitStruct.Mode = GPIO_MODE_INPUT;
  GPIO_InitStruct.Pull = GPIO_NOPULL;
  HAL_GPIO_Init(GPIOB, &GPIO_InitStruct);

  /*Configure GPIO pin : PB9 */
  GPIO_InitStruct.Pin = GPIO_PIN_9;
  GPIO_InitStruct.Mode = GPIO_MODE_ANALOG;
  HAL_GPIO_Init(GPIOB, &GPIO_InitStruct);

}

/* USER CODE BEGIN 4 */

uint32_t waterDetectLastTick;
uint8_t waterDetectCounter=0;

DMA_HandleTypeDef rxtemp;

void setWaterAccidentMode()
{
		//Протечка!!! 0 - протечка
		if(loadAccidentStatus()==REGULAR_MODE)
		{
			saveAccidentStatus(ACCIDENT_MODE);
			ValveOff(0);
		}
}

void readSensorResistanceValue()
{
	HAL_ADC_Start(&hadc2);
	 HAL_ADC_PollForConversion(&hadc2, 100);
	if(HAL_ADC_GetState(&hadc2) == HAL_ADC_STATE_EOC_REG)
	{
		sensor_resistance_value=HAL_ADC_GetValue(&hadc2);
	}
	HAL_ADC_Stop(&hadc2);
}

void MainLED(GPIO_PinState r, GPIO_PinState g, GPIO_PinState b){

	HAL_GPIO_WritePin(GPIOB, GPIO_PIN_3, r);
	HAL_GPIO_WritePin(GPIOB, GPIO_PIN_4, g);
	HAL_GPIO_WritePin(GPIOB, GPIO_PIN_5, b);
}

#define MainLED_OFF MainLED(GPIO_PIN_RESET,GPIO_PIN_RESET,GPIO_PIN_RESET)
#define MainLED_RED MainLED(GPIO_PIN_SET,GPIO_PIN_RESET,GPIO_PIN_RESET)
#define MainLED_GREEN MainLED(GPIO_PIN_RESET,GPIO_PIN_SET,GPIO_PIN_RESET)
#define MainLED_BLUE MainLED(GPIO_PIN_RESET,GPIO_PIN_RESET,GPIO_PIN_SET)

void sendStateToOpenHabGate(){
	nrf24_tx_address(openhab_gate_address_pipe0);
	SettingsAndStatus * data=getSettingsStruct();
	nrf24_send(data);
	while(nrf24_isSending()){};

//	uint8_t a=nrf24_lastMessageStatus();
//	a=a+1;
//	uint8_t b=nrf24_retransmissionCount();
//		b=b+1;

	nrf24_powerUpRx();
}

/* USER CODE END 4 */

/* StartLCDTask function */
void StartLCDTask(void const * argument)
{

  /* USER CODE BEGIN 5 */
	osSemaphoreWait(SPI1BinarySemHandle, osWaitForever);
	LCD_Init();
	osSemaphoreRelease(SPI1BinarySemHandle);

	hspi1.hdmarx=&rxtemp;
	menu_setNeedCLS(1);

	/* Infinite loop */
	for(;;)
	{
		osSemaphoreWait(SPI1BinarySemHandle, osWaitForever);
		Menu_Draw();
		LCD_WaitAndReleaseSPI();
		osSemaphoreRelease(SPI1BinarySemHandle);

		osDelay(1);
	}
  /* USER CODE END 5 */
}

/* StartUserManagementTask function */
void StartUserManagementTask(void const * argument)
{
  /* USER CODE BEGIN StartUserManagementTask */
	while(!counter_settings_data_buff_inizialized)
	{
		osDelay(1);
	}

	BF_Init(&count_cw, 50);
	count_cw.counter=loadCCW();// BKP->DR1;
	BF_Init(&count_hw, 50);
	count_hw.counter=loadCHW();// BKP->DR2;

	Encoder_Init(&encoder1);

	LCD_UserActivity();

	GPIO_PinState main_switch_state=HAL_GPIO_ReadPin(GPIOB, GPIO_PIN_14);

	uint16_t coldStartCounter=10;

	/* Infinite loop */
	for(;;)
	{

		valve_relay_tick(); //следит, отключает питание реле воды после отработки

		//главный выключатель
		GPIO_PinState main_switch_new_state=HAL_GPIO_ReadPin(GPIOB, GPIO_PIN_14);
		if(main_switch_new_state!=main_switch_state)
		{
			LCD_UserActivity();

			if(main_switch_state==GPIO_PIN_SET)
			{
				ValveOn(0);
			}
			else
			{
				ValveOff(0);
			}

			main_switch_state=main_switch_new_state;
		}

		//красная кнопка
		if(HAL_GPIO_ReadPin(GPIOB, GPIO_PIN_15)==GPIO_PIN_RESET)
		{
			radio_sensor_resistance_value=0xffff; // до следующего эфира значение будет "неопределено"

			userAlreadyNotified=true;
			if(loadAccidentStatus()==REGULAR_MODE)
			{
				setWaterAccidentMode();
				LCD_UserActivity();
			}
		}

		//датчик протечки цифровой сигнал
		if(HAL_GPIO_ReadPin(GPIOC, GPIO_PIN_15)==GPIO_PIN_RESET)
		{
			if(HAL_GetTick()>waterDetectLastTick+100)
			{
				waterDetectCounter+=1;
				waterDetectLastTick=HAL_GetTick();
			}

			if(waterDetectCounter>=3) //три раза подрят, каждые 100 мсек датчик был активен
			{
				setWaterAccidentMode();
				LCD_UserActivity();
			}
		}
		else
		{
			waterDetectCounter=0;
		}

		//датчик протечки аналоговый сигнал
		if((coldStartCounter==0)&&(sensor_resistance_value<=getSettingsStruct()->accident_level_value))
		{
			setWaterAccidentMode();
			LCD_UserActivity();
		}

		//радио датчик
		if((radio_sensor_resistance_value!=0xffff)&&(radio_sensor_resistance_value<=getSettingsStruct()->accident_level_value))
		{
			setWaterAccidentMode();
			LCD_UserActivity();
		}

		Encoder_SetState(&encoder1, HAL_GPIO_ReadPin(GPIOB, GPIO_PIN_10), HAL_GPIO_ReadPin(GPIOB, GPIO_PIN_11), HAL_GPIO_ReadPin(GPIOB, GPIO_PIN_2));

		Menu_DoUserAction(&encoder1);

		//аппаратное чтение контактов счетчиков
		BF_SetState(&count_cw, HAL_GPIO_ReadPin(GPIOA, GPIO_PIN_12));
		BF_SetState(&count_hw, HAL_GPIO_ReadPin(GPIOA, GPIO_PIN_11));

		//сохраняем в регистры
		if(count_cw.counter!=loadCCW())
		{
			saveCCW(count_cw.counter);
		}
		if(count_hw.counter!=loadCHW())
		{
			saveCHW(count_hw.counter);
		}

		if(beep_on)
		{
			HAL_GPIO_WritePin(GPIOC, GPIO_PIN_13, GPIO_PIN_RESET);
			if(HAL_GetTick()-beep_stop_timer>500)
			{
				beep_on=false;
			}
		}
		else
		{
			//buzzer
			if((loadAccidentStatus()==ACCIDENT_MODE)&&(!userAlreadyNotified)) //ПРОТЕЧКА
			{
				switch(HAL_GetTick()&512)
				{
					case 0:
						HAL_GPIO_WritePin(GPIOC, GPIO_PIN_13, GPIO_PIN_RESET);
						break;
					default:
						HAL_GPIO_WritePin(GPIOC, GPIO_PIN_13, GPIO_PIN_SET);
						break;
				}
			}
			else
			{
				HAL_GPIO_WritePin(GPIOC, GPIO_PIN_13, GPIO_PIN_SET);
			}
		}

		uint16_t flashRate;
		if(loadAccidentStatus()==ACCIDENT_MODE) //ПРОТЕЧКА
		{
			flashRate=128;
		}
		else
		{
			flashRate=1024;
		}

		if((!LCD_IsActive())&&(HAL_GetTick()&flashRate))
		{
			if(loadAccidentStatus()==REGULAR_MODE)
			{
				if(main_switch_new_state==GPIO_PIN_RESET)
				{
					MainLED_GREEN;
				}
				else{
					MainLED_BLUE;
				}
			}
			else
			{
				MainLED_RED;
			}
			HAL_GPIO_WritePin(GPIOB, GPIO_PIN_1, GPIO_PIN_SET);
		}
		else
		{
			MainLED_OFF;
			HAL_GPIO_WritePin(GPIOB, GPIO_PIN_1, GPIO_PIN_RESET);
		}

		osDelay(1);
		if(coldStartCounter){coldStartCounter--;}
	}

  /* USER CODE END StartUserManagementTask */
}

/* StartI2CTimeTask function */
void StartI2CTimeTask(void const * argument)
{
  /* USER CODE BEGIN StartI2CTimeTask */

	//if(HAL_I2C_Mem_Read(&hi2c1, 174, 0, I2C_MEMADD_SIZE_16BIT, (uint8_t*)counter_settings_data_buff, 32, 100)!= HAL_OK)
	if(AT24C_Read(&hi2c1, 0,	counter_settings_data_buff, 32))
	{
	}
	if(AT24C_Read(&hi2c1, 32,	counter_settings_data_buff+32, 32))
	{
	}
	counter_settings_data_buff_inizialized=true;

	/* Infinite loop */
	for(;;)
	{
		if(time_data_buff_need_save)
		{
			time_data_buff_need_save=0;
			if(HAL_I2C_Mem_Write(&hi2c1, 208, 0, I2C_MEMADD_SIZE_8BIT, (uint8_t*)time_data_buff, 19, 100)!= HAL_OK)
			{
			}
		}
		else
		{
			if(HAL_I2C_Mem_Read(&hi2c1, 208, 0, I2C_MEMADD_SIZE_8BIT, (uint8_t*)time_data_buff, 19, 100)!= HAL_OK)
			{
			}
		}

		if(settings_page1_data_buff_need_save)
		{
			settings_page1_data_buff_need_save=false;
			if(AT24C_Write(&hi2c1, 0, counter_settings_data_buff, 32))
			{
			}
		}

		if(settings_page2_data_buff_need_save)
		{
			if(AT24C_Write(&hi2c1, 32, counter_settings_data_buff+32, 32))
			{
			}
		}

		readSensorResistanceValue();

		osDelay(1000);
	}
  /* USER CODE END StartI2CTimeTask */
}

/* StartNrf24Task function */
void StartNrf24Task(void const * argument)
{
  /* USER CODE BEGIN StartNrf24Task */
	osSemaphoreWait(SPI1BinarySemHandle, osWaitForever);
	nrf24_config(99,32);
	//nrf24_rx_address(RX_ADDR_P0, master_controller_address_pipe0); //not use! for ack only
	nrf24_rx_address(RX_ADDR_P1, master_controller_address_pipe1);
	nrf24_rx_address(RX_ADDR_P2, master_controller_address_pipe2);

	osSemaphoreRelease(SPI1BinarySemHandle);

	aes128_init(AES_key, &AES_ctx);

	nrf24_powerUpRx();

  /* Infinite loop */
  for(;;)
  {

		osDelay(10);

		osSemaphoreWait(SPI1BinarySemHandle, osWaitForever);
		if(nrf24_dataReady())
    {
			EncryptedBlock encryptedBlock;
			uint8_t pipeNo=nrf24_dataReadyPipeNo();
			switch(pipeNo)
			{
				case 2: //OpenHAB gate pipe
					nrf24_getData((uint8_t*)&encryptedBlock);
					aes128_dec((uint8_t*)&encryptedBlock, &AES_ctx);
					aes128_dec((uint8_t*)&encryptedBlock+16, &AES_ctx);
					switch(encryptedBlock.data[0])
					{
						case 0:
							ValveOff(0);
							break;
						case 1:
							ValveOn(0);
							break;
						case 2:
							resetWaterAlert(0);
							break;
						case 3:
							setWaterAccidentMode();
							break;
						case 4: //beep
							beep_stop_timer=HAL_GetTick();
							beep_on=true;
							break;
						case 5: //request state
							needRefreshStateOnOpenHub=true;
							break;
					}
					break;

				case 1: //probe pipe
					nrf24_getData((uint8_t*)&encryptedBlock);
					aes128_dec((uint8_t*)&encryptedBlock, &AES_ctx);

					ProbeData * probeData=(ProbeData *)encryptedBlock.data;
					if(probeData->crc!=0xf0f0f0f0){
						continue;
					}

					if(encryptedBlock.token<=getKey()){
						continue;
					}
					setKey(encryptedBlock.token);

					radio_sensor_resistance_value=probeData->sensor_val;
					getSettingsStruct()->radio_sensor_dateTime=*getCurrentDateTime();
					settings_page2_data_buff_need_save=true;

					needRefreshStateOnOpenHub=true;
					break;
				}
		}

		if(needRefreshStateOnOpenHub)
		{
			sendStateToOpenHabGate();
			needRefreshStateOnOpenHub=false;
		}
		osSemaphoreRelease(SPI1BinarySemHandle);
	}

  /* USER CODE END StartNrf24Task */
}

#ifdef USE_FULL_ASSERT

/**
   * @brief Reports the name of the source file and the source line number
   * where the assert_param error has occurred.
   * @param file: pointer to the source file name
   * @param line: assert_param error line source number
   * @retval None
   */
void assert_failed(uint8_t* file, uint32_t line)
{
  /* USER CODE BEGIN 6 */
	/* User can add his own implementation to report the file name and line number,
		ex: printf("Wrong parameters value: file %s on line %d\r\n", file, line) */
	//LCD_DrawString(0,0,"!!!",true);
  /* USER CODE END 6 */

}

#endif

/************************ (C) COPYRIGHT STMicroelectronics *****END OF FILE****/
